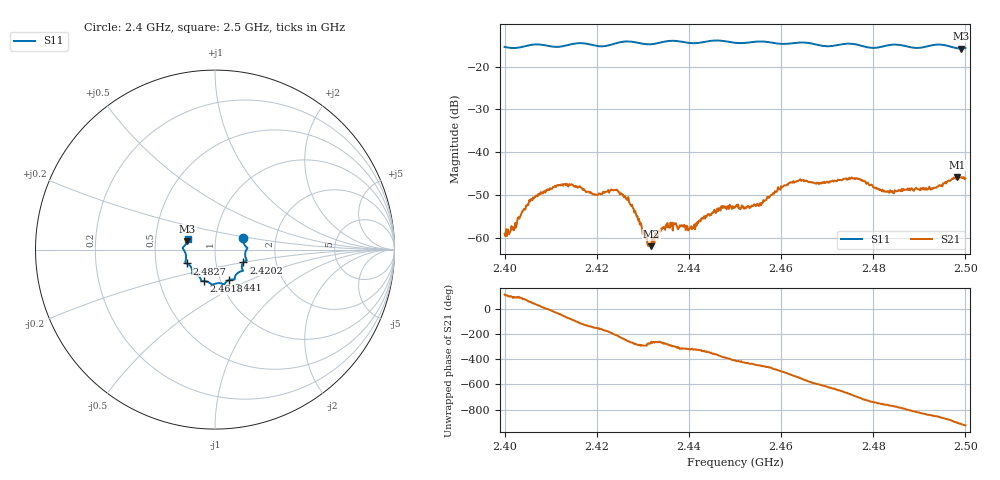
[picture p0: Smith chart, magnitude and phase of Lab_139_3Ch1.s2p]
# Hz S RI R 50
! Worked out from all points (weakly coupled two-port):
!   601 points, 2.4 GHz to 2.5 GHz, reference 50 ohm
!   highest |S21| = -45.77 dB at 2.4982 GHz (marker M1); lowest = -61.9 dB at 2.4318 GHz (marker M2)
!   lowest |S11| = -15.8 dB at 2.499 GHz (marker M3), VSWR 1.39, Z = 36.4 + j3.51 ohm
!   |S11| at or under -10 dB: start of sweep to end of sweep
!   S12 and S22 are empty: the file has one direction only
!   S11 on the Smith chart (normalised r, x): 2.4 GHz: 1.36, +0.17; 2.4202 GHz: 1.36, -0.20; 2.441 GHz: 1.10, -0.39; 2.4618 GHz: 0.84, -0.30; 2.4827 GHz: 0.72, -0.11; 2.5 GHz: 0.73, +0.09
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2.4e9  0.1577 0.0624  -0.000436 0.00104  0 0  0 0
2.407333e9  0.1807 0.00852  0.00292 0.00149  0 0  0 0
2.412e9  0.1678 -0.0287  0.00313 -0.00273  0 0  0 0
2.416667e9  0.1773 -0.0602  -0.00179 -0.00341  0 0  0 0
2.420167e9  0.158 -0.0715  -0.00288 -0.0013  0 0  0 0
2.424e9  0.1515 -0.1071  -0.00328 0.00159  0 0  0 0
2.4265e9  0.1563 -0.1182  -0.000913 0.0027  0 0  0 0
2.431833e9  0.1191 -0.1376  -0.000121 0.000796  0 0  0 0
2.433333e9  0.1116 -0.151  -0.000135 0.00118  0 0  0 0
2.435833e9  0.1096 -0.166  0.000498 0.00122  0 0  0 0
2.441e9  0.078 -0.1699  0.00106 0.000774  0 0  0 0
2.447e9  0.0475 -0.1942  0.00223 -0.000714  0 0  0 0
2.45e9  0.0281 -0.187  0.00152 -0.00169  0 0  0 0
2.4555e9  -0.014 -0.1955  -3.84e-05 -0.00256  0 0  0 0
2.461833e9  -0.0599 -0.1755  -0.00413 -0.00162  0 0  0 0
2.466667e9  -0.0784 -0.1679  -0.00322 0.00307  0 0  0 0
2.4765e9  -0.1269 -0.1277  0.00465 0.00185  0 0  0 0
2.482667e9  -0.1563 -0.0771  0.00266 -0.00224  0 0  0 0
2.483333e9  -0.1605 -0.0754  0.0025 -0.00246  0 0  0 0
2.498167e9  -0.1596 0.036  -0.00513 0.000305  0 0  0 0
2.499e9  -0.1551 0.0469  -0.00501 0.00105  0 0  0 0
2.5e9  -0.1522 0.0612  -0.00449 0.00206  0 0  0 0
